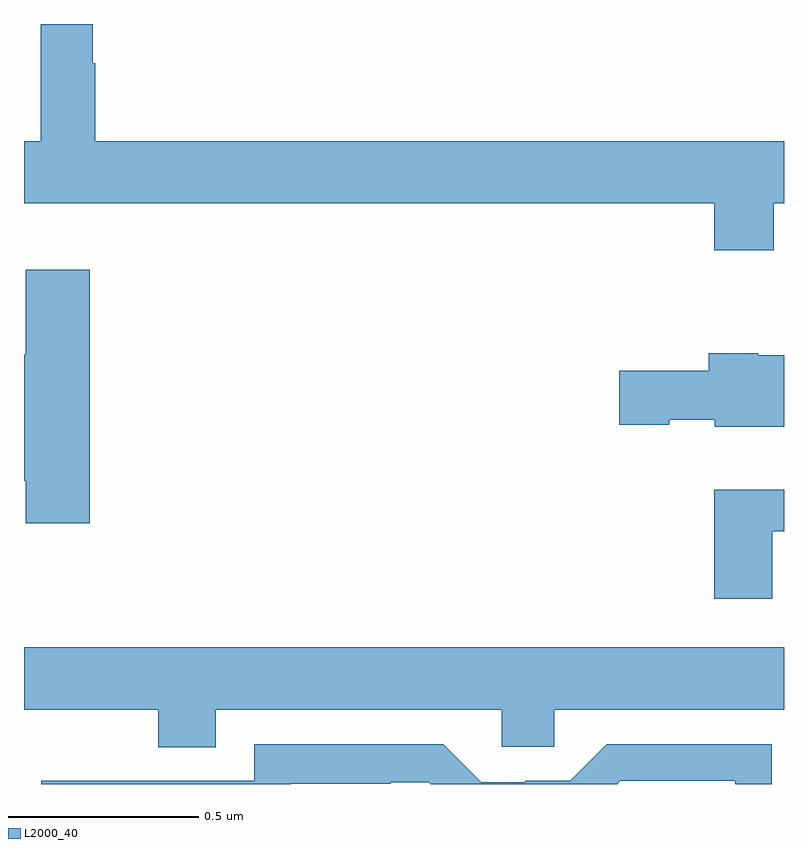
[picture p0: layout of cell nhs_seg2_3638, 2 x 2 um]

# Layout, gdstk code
import gdstk
lib = gdstk.Library(unit=1e-6, precision=1e-09)
def P(c, l, *ps):  # polygons
    for p in ps: c.add(gdstk.Polygon(p, *l))
L2000_40 = (2000, 40)

nhs_seg2_3638 = lib.new_cell('nhs_seg2_3638')
P(nhs_seg2_3638, L2000_40, [(157.973,622.328),(158,622.328),(158,622.492),(156.188,622.492),(156.188,622.697),(156.181,622.697),(156.181,622.8),(156.044,622.8),(156.044,622.492),(156,622.492),(156,622.328),(157.817,622.328),(157.817,622.204),(157.973,622.204)],
  [(156.173,622.153),(156.005,622.153),(156.005,621.929),(156,621.929),(156,621.598),(156.005,621.598),(156.005,621.486),(156.173,621.486)],
  [(158,621.928),(157.932,621.928),(157.932,621.934),(157.802,621.934),(157.802,621.888),(157.566,621.888),(157.566,621.746),(157.698,621.746),(157.698,621.758),(157.818,621.758),(157.818,621.74),(158,621.74)],
  [(157.969,621.465),(158,621.465),(158,621.574),(157.817,621.574),(157.817,621.288),(157.969,621.288)],
  [(156.505,620.996),(157.257,620.996),(157.257,620.898),(157.395,620.898),(157.395,620.996),(158,620.996),(158,621.16),(156,621.16),(156,620.996),(156.353,620.996),(156.353,620.897),(156.505,620.897)],
  [(156.702,620.801),(156.965,620.801),(156.965,620.805),(157.065,620.805),(157.07,620.8),(157.561,620.8),(157.569,620.808),(157.872,620.808),(157.872,620.8),(157.968,620.8),(157.968,620.904),(157.533,620.904),(157.437,620.808),(157.319,620.808),(157.319,620.805),(157.203,620.805),(157.103,620.905),(156.606,620.905),(156.606,620.808),(156.045,620.808),(156.045,620.8),(156.702,620.8)])

lib.write_gds('nhs_seg2_3638.gds')
